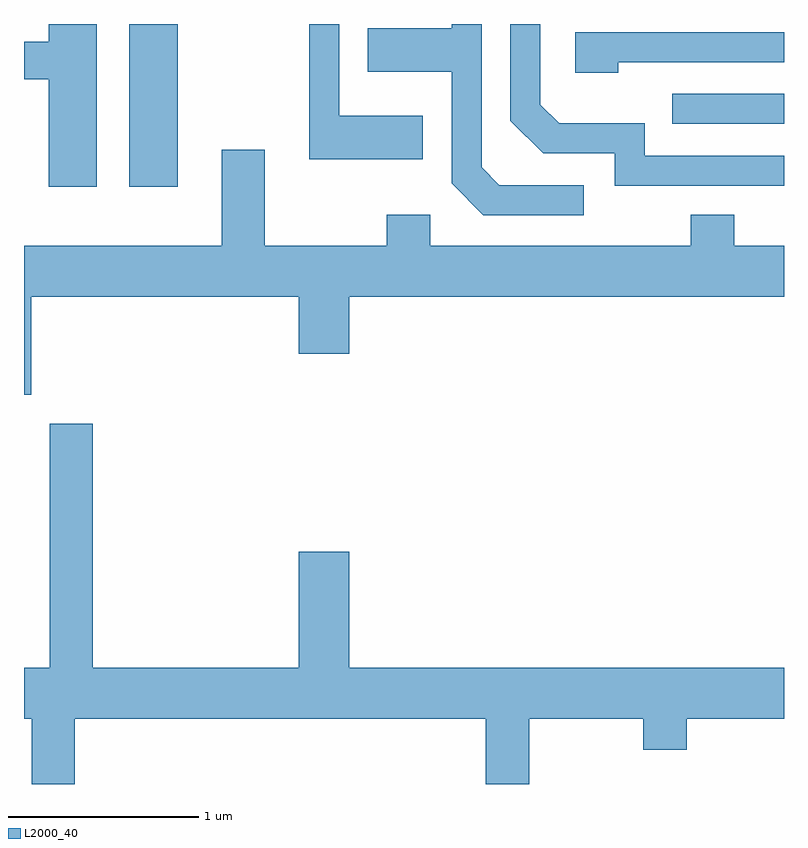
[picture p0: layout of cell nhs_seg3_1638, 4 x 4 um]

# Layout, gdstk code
import gdstk
lib = gdstk.Library(unit=1e-6, precision=1e-09)
def R(c, l, rs):  # rectangles x0, y0, x1, y1
    for r in rs: c.add(gdstk.rectangle(r[:2], r[2:], *l))
def P(c, l, *ps):  # polygons
    for p in ps: c.add(gdstk.Polygon(p, *l))
L2000_40 = (2000, 40)

nhs_seg3_1638 = lib.new_cell('nhs_seg3_1638')
R(nhs_seg3_1638, L2000_40, [(234.166,1131.036,234.419,1131.892), (237.023,1131.366,237.611,1131.524)])
P(nhs_seg3_1638, L2000_40, [(235.709,1131.409),(235.269,1131.409),(235.269,1131.892),(235.111,1131.892),(235.111,1131.181),(235.709,1131.181)],
  [(233.994,1131.892),(233.741,1131.892),(233.741,1131.799),(233.611,1131.799),(233.611,1131.601),(233.741,1131.601),(233.741,1131.036),(233.994,1131.036)],
  [(236.558,1131.044),(236.112,1131.044),(236.019,1131.137),(236.019,1131.892),(235.861,1131.892),(235.861,1131.869),(235.421,1131.869),(235.421,1131.641),(235.861,1131.641),(235.861,1131.054),(236.029,1130.886),(236.558,1130.886)],
  [(237.611,1131.199),(236.879,1131.199),(236.879,1131.369),(236.427,1131.369),(236.329,1131.467),(236.329,1131.892),(236.171,1131.892),(236.171,1131.384),(236.344,1131.211),(236.721,1131.211),(236.721,1131.041),(237.611,1131.041)],
  [(236.739,1131.691),(237.611,1131.691),(237.611,1131.849),(236.511,1131.849),(236.511,1131.636),(236.739,1131.636)],
  [(233.649,1130.456),(235.056,1130.456),(235.056,1130.156),(235.324,1130.156),(235.324,1130.456),(237.611,1130.456),(237.611,1130.724),(237.349,1130.724),(237.349,1130.889),(237.121,1130.889),(237.121,1130.724),(235.749,1130.724),(235.749,1130.889),(235.521,1130.889),(235.521,1130.724),(234.879,1130.724),(234.879,1131.229),(234.651,1131.229),(234.651,1130.724),(233.611,1130.724),(233.611,1129.941),(233.649,1129.941)],
  [(233.879,1128.236),(236.041,1128.236),(236.041,1127.892),(236.269,1127.892),(236.269,1128.236),(236.871,1128.236),(236.871,1128.071),(237.099,1128.071),(237.099,1128.236),(237.611,1128.236),(237.611,1128.504),(235.324,1128.504),(235.324,1129.114),(235.056,1129.114),(235.056,1128.504),(233.974,1128.504),(233.974,1129.789),(233.746,1129.789),(233.746,1128.504),(233.611,1128.504),(233.611,1128.236),(233.651,1128.236),(233.651,1127.892),(233.879,1127.892)])

lib.write_gds('nhs_seg3_1638.gds')
